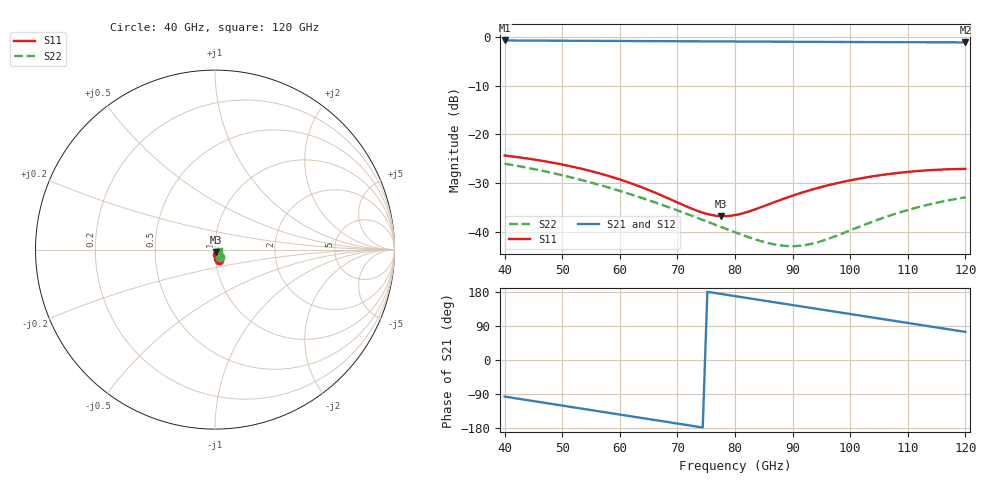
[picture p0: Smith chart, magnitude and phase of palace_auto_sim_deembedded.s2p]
! Created with skrf 1.11.0 (http://scikit-rf.org).
# GHz S DB R 50.0
!freq dBS11 angS11 dBS21 angS21 dBS12 angS12 dBS22 angS22
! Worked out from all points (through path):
!   101 points, 40 GHz to 120 GHz, reference 50 ohm
!   highest |S21| = -0.74 dB at 40 GHz (marker M1); lowest = -1.1 dB at 120 GHz (marker M2)
!   group delay of S21, straight-line fit = 6.58 ps
!   lowest |S11| = -36.7 dB at 77.6 GHz (marker M3), VSWR 1.03, Z = 50.4 - j1.4 ohm
!   |S11| at or under -10 dB: start of sweep to end of sweep
!   |S22| runs from -42.9 to -26.0 dB; largest |S21 - S12| = 1e-13
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40  -24.32 -66.0  -0.74 -96.5  -0.74 -96.5  -26.00 -59.7
43.2  -24.81 -72.4  -0.76 -104.1  -0.76 -104.1  -26.66 -65.0
46.4  -25.39 -78.4  -0.78 -111.7  -0.78 -111.7  -27.42 -69.9
49.6  -26.07 -84.2  -0.79 -119.3  -0.79 -119.3  -28.25 -74.5
53.6  -27.11 -90.8  -0.82 -128.8  -0.82 -128.8  -29.42 -79.5
57.6  -28.36 -96.4  -0.84 -138.3  -0.84 -138.3  -30.73 -83.7
60.8  -29.55 -99.8  -0.85 -145.9  -0.85 -145.9  -31.86 -86.2
67.2  -32.47 -101.7  -0.89 -161.1  -0.89 -161.1  -34.38 -88.7
70.4  -34.15 -98.3  -0.90 -168.7  -0.90 -168.7  -35.74 -88.3
73.6  -35.72 -90.1  -0.92 -176.2  -0.92 -176.2  -37.16 -86.5
76  -36.53 -80.7  -0.93 178.1  -0.93 178.1  -38.24 -84.0
77.6  -36.75 -73.3  -0.94 174.3  -0.94 174.3  -38.97 -81.8
80  -36.53 -62.5  -0.96 168.6  -0.96 168.6  -40.04 -77.4
84.8  -34.79 -47.6  -0.98 157.2  -0.98 157.2  -41.96 -63.9
88  -33.38 -43.4  -1.00 149.7  -1.00 149.7  -42.76 -51.1
90.4  -32.39 -42.4  -1.01 144.0  -1.01 144.0  -42.89 -40.3
93.6  -31.22 -42.8  -1.03 136.4  -1.03 136.4  -42.32 -26.5
96  -30.47 -44.1  -1.04 130.8  -1.04 130.8  -41.47 -18.2
100.8  -29.22 -48.1  -1.06 119.4  -1.06 119.4  -39.29 -8.4
107.2  -28.04 -55.3  -1.09 104.3  -1.09 104.3  -36.51 -6.4
113.6  -27.34 -63.5  -1.11 89.3  -1.11 89.3  -34.38 -11.6
120  -27.07 -71.9  -1.13 74.1  -1.13 74.1  -32.89 -20.3
